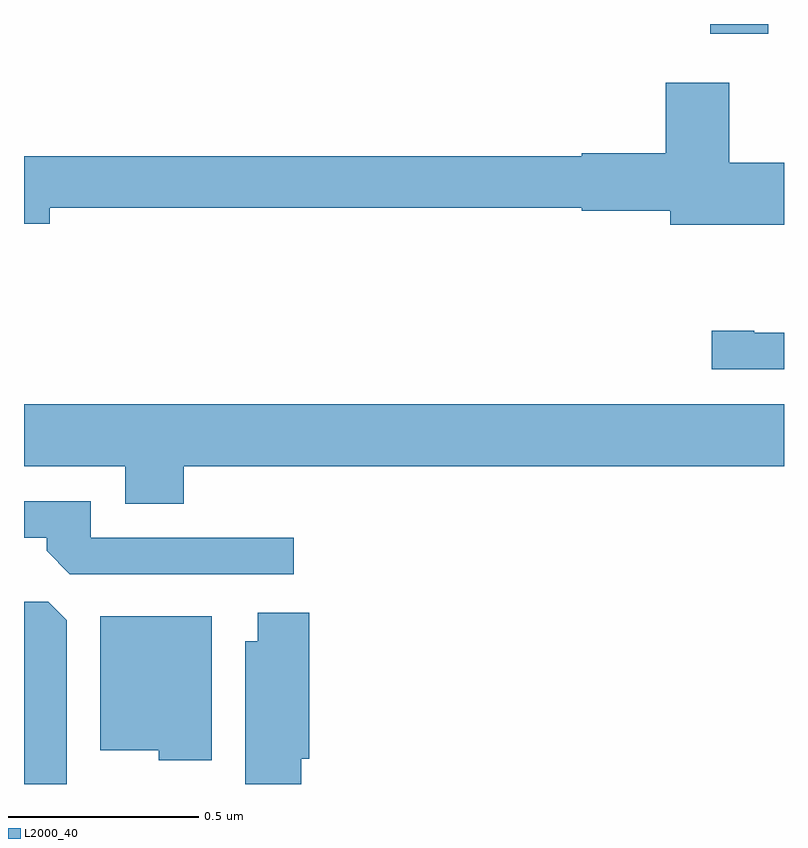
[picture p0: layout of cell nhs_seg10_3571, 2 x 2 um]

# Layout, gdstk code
import gdstk
lib = gdstk.Library(unit=1e-6, precision=1e-09)
def R(c, l, rs):  # rectangles x0, y0, x1, y1
    for r in rs: c.add(gdstk.rectangle(r[:2], r[2:], *l))
def P(c, l, *ps):  # polygons
    for p in ps: c.add(gdstk.Polygon(p, *l))
L2000_40 = (2000, 40)

nhs_seg10_3571 = lib.new_cell('nhs_seg10_3571')
R(nhs_seg10_3571, L2000_40, [(156.806,1281.474,156.958,1281.5)])
P(nhs_seg10_3571, L2000_40, [(157,1281.135),(156.856,1281.135),(156.856,1281.346),(156.689,1281.346),(156.689,1281.16),(156.468,1281.16),(156.468,1281.152),(155,1281.152),(155,1280.974),(155.068,1280.974),(155.068,1281.016),(156.468,1281.016),(156.468,1281.008),(156.701,1281.008),(156.701,1280.972),(157,1280.972)],
  [(157,1280.688),(156.922,1280.688),(156.922,1280.693),(156.81,1280.693),(156.81,1280.592),(157,1280.592)],
  [(155.42,1280.336),(157,1280.336),(157,1280.5),(155,1280.5),(155,1280.336),(155.267,1280.336),(155.267,1280.237),(155.42,1280.237)],
  [(155.71,1280.148),(155.175,1280.148),(155.175,1280.244),(155,1280.244),(155,1280.148),(155.06,1280.148),(155.06,1280.114),(155.121,1280.052),(155.71,1280.052)],
  [(155.113,1279.931),(155.064,1279.98),(155,1279.98),(155,1279.884),(155.001,1279.884),(155.001,1279.787),(155,1279.787),(155,1279.5),(155.113,1279.5)],
  [(155.729,1279.566),(155.75,1279.566),(155.75,1279.951),(155.615,1279.951),(155.615,1279.876),(155.582,1279.876),(155.582,1279.5),(155.729,1279.5)],
  [(155.494,1279.942),(155.201,1279.942),(155.201,1279.589),(155.355,1279.589),(155.355,1279.562),(155.494,1279.562)])

lib.write_gds('nhs_seg10_3571.gds')
